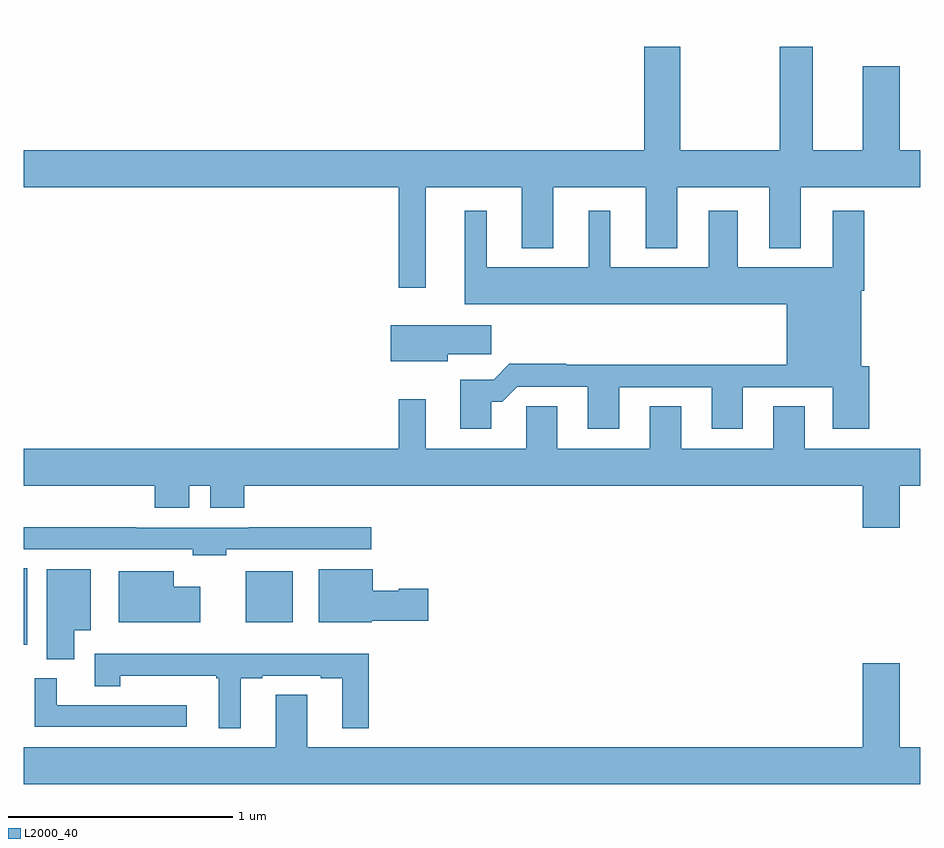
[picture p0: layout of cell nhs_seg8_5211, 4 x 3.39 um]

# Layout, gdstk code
import gdstk
lib = gdstk.Library(unit=1e-6, precision=1e-09)
def R(c, l, rs):  # rectangles x0, y0, x1, y1
    for r in rs: c.add(gdstk.rectangle(r[:2], r[2:], *l))
def P(c, l, *ps):  # polygons
    for p in ps: c.add(gdstk.Polygon(p, *l))
L2000_40 = (2000, 40)

nhs_seg8_5211 = lib.new_cell('nhs_seg8_5211')
R(nhs_seg8_5211, L2000_40, [(425,1109.129,425.014,1109.471), (425.99,1109.231,426.199,1109.458), (427.976,1111.898,428.326,1111.9)])
P(nhs_seg8_5211, L2000_40, [(426.793,1111.172),(427.223,1111.172),(427.223,1110.899),(427.363,1110.899),(427.363,1111.172),(427.775,1111.172),(427.775,1110.899),(427.915,1110.899),(427.915,1111.172),(428.327,1111.172),(428.327,1110.899),(428.467,1110.899),(428.467,1111.172),(429,1111.172),(429,1111.336),(428.908,1111.336),(428.908,1111.711),(428.744,1111.711),(428.744,1111.336),(428.521,1111.336),(428.521,1111.798),(428.374,1111.798),(428.374,1111.336),(427.929,1111.336),(427.929,1111.798),(427.769,1111.798),(427.769,1111.336),(425,1111.336),(425,1111.172),(426.672,1111.172),(426.672,1110.723),(426.793,1110.723)],
  [(427.087,1110.215),(427.136,1110.215),(427.203,1110.282),(427.517,1110.282),(427.517,1110.093),(427.657,1110.093),(427.657,1110.279),(428.069,1110.279),(428.069,1110.093),(428.209,1110.093),(428.209,1110.279),(428.609,1110.279),(428.609,1110.093),(428.774,1110.093),(428.774,1110.372),(428.737,1110.372),(428.737,1110.71),(428.75,1110.71),(428.75,1111.066),(428.609,1111.066),(428.609,1110.814),(428.185,1110.814),(428.185,1111.066),(428.057,1111.066),(428.057,1110.814),(427.618,1110.814),(427.618,1111.066),(427.52,1111.066),(427.52,1110.814),(427.066,1110.814),(427.066,1111.066),(426.968,1111.066),(426.968,1110.65),(428.405,1110.65),(428.405,1110.38),(427.421,1110.38),(427.421,1110.383),(427.166,1110.383),(427.096,1110.313),(426.947,1110.313),(426.947,1110.093),(427.087,1110.093)],
  [(426.892,1110.427),(427.087,1110.427),(427.087,1110.556),(426.638,1110.556),(426.638,1110.395),(426.892,1110.395)],
  [(428.908,1109.84),(429,1109.84),(429,1110.004),(428.485,1110.004),(428.485,1110.194),(428.345,1110.194),(428.345,1110.004),(427.933,1110.004),(427.933,1110.194),(427.793,1110.194),(427.793,1110.004),(427.381,1110.004),(427.381,1110.194),(427.242,1110.194),(427.242,1110.004),(426.793,1110.004),(426.793,1110.226),(426.672,1110.226),(426.672,1110.004),(425,1110.004),(425,1109.84),(425.585,1109.84),(425.585,1109.741),(425.737,1109.741),(425.737,1109.84),(425.831,1109.84),(425.831,1109.741),(425.984,1109.741),(425.984,1109.84),(428.744,1109.84),(428.744,1109.652),(428.908,1109.652)],
  [(425.904,1109.556),(426.55,1109.556),(426.55,1109.654),(426.004,1109.654),(426.004,1109.652),(425.501,1109.652),(425.501,1109.654),(425,1109.654),(425,1109.556),(425.754,1109.556),(425.754,1109.528),(425.904,1109.528)],
  [(425.224,1109.195),(425.299,1109.195),(425.299,1109.467),(425.102,1109.467),(425.102,1109.065),(425.224,1109.065)],
  [(426.552,1109.237),(426.805,1109.237),(426.805,1109.379),(426.672,1109.379),(426.672,1109.371),(426.556,1109.371),(426.556,1109.467),(426.317,1109.467),(426.317,1109.231),(426.552,1109.231)],
  [(425.788,1109.389),(425.668,1109.389),(425.668,1109.458),(425.423,1109.458),(425.423,1109.231),(425.788,1109.231)],
  [(425.968,1108.98),(426.064,1108.98),(426.064,1108.992),(426.326,1108.992),(426.326,1108.98),(426.422,1108.98),(426.422,1108.757),(426.539,1108.757),(426.539,1109.089),(425.316,1109.089),(425.316,1108.945),(425.429,1108.945),(425.429,1108.991),(425.859,1108.991),(425.859,1108.98),(425.87,1108.98),(425.87,1108.757),(425.968,1108.757)],
  [(429,1108.672),(428.908,1108.672),(428.908,1109.047),(428.744,1109.047),(428.744,1108.672),(426.265,1108.672),(426.265,1108.907),(426.125,1108.907),(426.125,1108.672),(425,1108.672),(425,1108.508),(429,1108.508)],
  [(425.728,1108.86),(425.146,1108.86),(425.146,1108.98),(425.048,1108.98),(425.048,1108.764),(425.728,1108.764)])

lib.write_gds('nhs_seg8_5211.gds')
